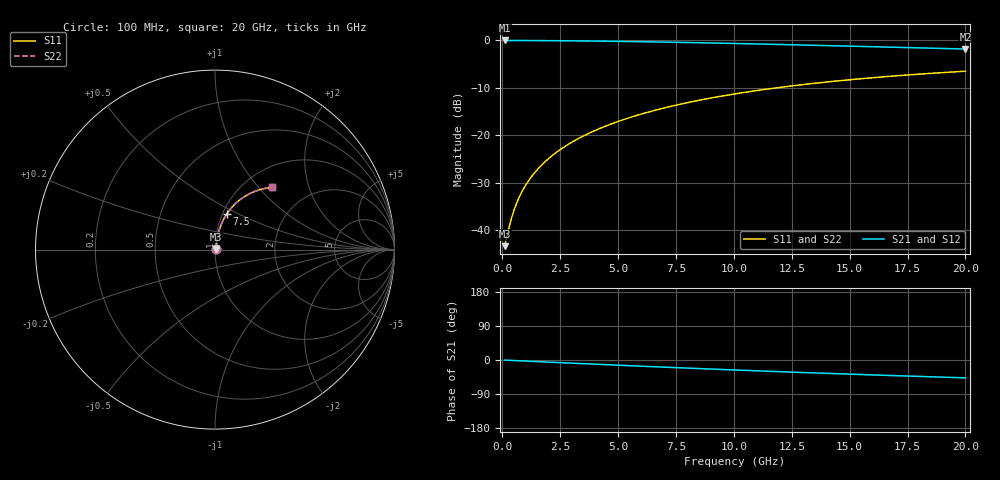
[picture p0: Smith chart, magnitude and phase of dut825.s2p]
! Touchstone file exported from HFSS 2024.1.0
!  File:  C:/UserFiles/LocalFiles/RDL_TSV_Batchsim/temp_RDL_top_825_1779854663.aedt
!  Generated:  12:07:45 PM May 27, 2026
!  Design:  RDL_top
!  Project:  temp_RDL_top_825_1779854663
!  Setup:  Setup1
!  Solution:  Sweep
! Variables:
!  dtsv = 10.80580581um
!  hbump = 3um
!  htsv = 68.54um
!  ldown = 100um
!  lrdl = 655.15um
!  p = 40
!  p1 = 43.24um
!  rhole = 1um
!  t = 450um
!  tdown = 3.915915916um
!  trdl = 2.62um
!  wdown = 15.38538539um
!  wrdl = 14.86um
# GHz S MA R 50.000000
! Terminal data exported
! Port[1] = Box2_T1
! Port[2] = Box2_T2
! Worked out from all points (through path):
!   200 points, 100 MHz to 20 GHz, reference 50 ohm
!   highest |S21| = -0.05 dB at 100 MHz (marker M1); lowest = -1.9 dB at 20 GHz (marker M2)
!   group delay of S21, straight-line fit = 6.55 ps
!   lowest |S11| = -43.4 dB at 100 MHz (marker M3), VSWR 1.01, Z = 50.6 + j0.301 ohm
!   |S11| at or under -10 dB: start of sweep to 11.89 GHz
!   |S22| runs from -43.4 to -6.5 dB; largest |S21 - S12| = 4.4e-15
!   S11 on the Smith chart (normalised r, x): 100 MHz: 1.01, +0.01; 7.5 GHz: 1.05, +0.43; 20 GHz: 1.34, +1.19
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0.1  0.006769 26.0  0.9939 -0.3  0.9939 -0.3  0.006769 26.0
! Gamma 0 0 0 0
! Port Impedance 50 0 50 0
0.3  0.01089 54.2  0.9936 -0.9  0.9936 -0.9  0.01089 54.2
0.4  0.01342 60.7  0.9935 -1.2  0.9935 -1.2  0.01342 60.7
0.5  0.01604 64.9  0.9932 -1.4  0.9932 -1.4  0.01604 64.9
0.6  0.0187 67.9  0.993 -1.7  0.993 -1.7  0.0187 67.9
0.7  0.02137 70.0  0.9928 -2.0  0.9928 -2.0  0.02137 70.1
0.9  0.02675 73.0  0.9923 -2.6  0.9923 -2.6  0.02675 73.0
1.2  0.03485 75.7  0.9916 -3.4  0.9916 -3.4  0.03485 75.7
1.4  0.04027 76.7  0.991 -3.9  0.991 -3.9  0.04028 76.7
1.7  0.04845 77.8  0.9902 -4.8  0.9902 -4.8  0.04845 77.8
2.2  0.06216 78.6  0.9884 -6.2  0.9884 -6.2  0.06216 78.6
2.8  0.07868 78.8  0.9859 -7.8  0.9859 -7.8  0.07869 78.8
3.5  0.09801 78.4  0.9823 -9.7  0.9823 -9.7  0.09801 78.4
4.2  0.1173 77.6  0.978 -11.6  0.978 -11.6  0.1173 77.6
5  0.1393 76.4  0.9724 -13.7  0.9724 -13.7  0.1393 76.4
6.8  0.1882 73.2  0.9572 -18.4  0.9572 -18.4  0.1883 73.2
7.5  0.2069 71.9  0.9506 -20.2  0.9506 -20.2  0.2069 71.9
8.7  0.2382 69.5  0.9384 -23.2  0.9384 -23.2  0.2382 69.5
10.1  0.2734 66.6  0.9232 -26.5  0.9232 -26.5  0.2735 66.6
13.4  0.3499 59.8  0.885 -34.0  0.885 -34.0  0.35 59.8
16.7  0.4159 53.3  0.8457 -40.8  0.8457 -40.8  0.416 53.3
20  0.4714 47.2  0.8075 -47.1  0.8075 -47.1  0.4716 47.3
